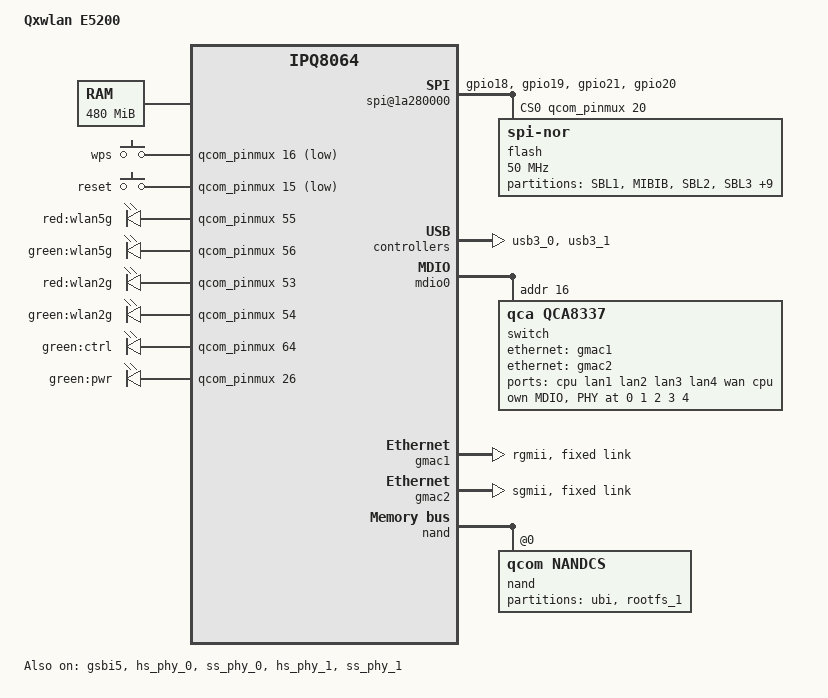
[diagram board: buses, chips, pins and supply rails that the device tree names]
// SPDX-License-Identifier: GPL-2.0-or-later OR MIT

#include "qcom-ipq8065-smb208.dtsi"
#include <dt-bindings/input/input.h>

/ {
	model = "Qxwlan E5200";
	compatible = "qxwlan,e5200", "qcom,ipq8065", "qcom,ipq8064";

	memory@42000000 {
		reg = <0x42000000 0x1e000000>;
		device_type = "memory";
	};

	aliases {
		led-boot = &pwr_green;
		led-failsafe = &pwr_green;
		led-running = &pwr_green;
		led-upgrade = &pwr_green;
	};

	chosen {
		bootargs = " console=ttyMSM0,115200n8 rootwait";
	};

	keys {
		compatible = "gpio-keys";
		pinctrl-0 = <&button_pins>;
		pinctrl-names = "default";

		wps {
			label = "wps";
			gpios = <&qcom_pinmux 16 GPIO_ACTIVE_LOW>;
			linux,code = <KEY_WPS_BUTTON>;
			debounce-interval = <60>;
			wakeup-source;
		};

		reset {
			label = "reset";
			gpios = <&qcom_pinmux 15 GPIO_ACTIVE_LOW>;
			linux,code = <KEY_RESTART>;
		};
	};

	leds {
		compatible = "gpio-leds";
		pinctrl-0 = <&led_pins>;
		pinctrl-names = "default";

		wlan5g_red {
			label = "red:wlan5g";
			gpios = <&qcom_pinmux 55 GPIO_ACTIVE_HIGH>;
		};

		wlan5g_green {
			label = "green:wlan5g";
			gpios = <&qcom_pinmux 56 GPIO_ACTIVE_HIGH>;
		};

		wlan2g_red {
			label = "red:wlan2g";
			gpios = <&qcom_pinmux 53 GPIO_ACTIVE_HIGH>;
		};

		2g_green {
			label = "green:wlan2g";
			gpios = <&qcom_pinmux 54 GPIO_ACTIVE_HIGH>;
		};

		ctrl_green {
			label = "green:ctrl";
			gpios = <&qcom_pinmux 64 GPIO_ACTIVE_HIGH>;
		};

		pwr_green: pwr_green {
			label = "green:pwr";
			gpios = <&qcom_pinmux 26 GPIO_ACTIVE_HIGH>;
		};
	};
};

&qcom_pinmux {
	spi_pins: spi_pins {
		mux {
			pins = "gpio18", "gpio19", "gpio21";
			function = "gsbi5";
			drive-strength = <10>;
			bias-pull-down;
		};

		clk {
			pins = "gpio21";
			function = "gsbi5";
			drive-strength = <12>;
			bias-pull-down;
		};

		cs {
			pins = "gpio20";
			function = "gpio";
			drive-strength = <10>;
			bias-pull-up;
		};
	};

	led_pins: led_pins {
		mux {
			pins = "gpio65", "gpio64",
				   "gpio53", "gpio54",
				   "gpio55", "gpio56",
				   "gpio26", "gpio64";
			function = "gpio";
			drive-strength = <2>;
			bias-pull-up;
		};
	};

	button_pins: button_pins {
		mux {
			pins = "gpio15", "gpio16";
			function = "gpio";
			drive-strength = <2>;
			bias-pull-up;
		};
	};

};

&gsbi5 {
	qcom,mode = <GSBI_PROT_SPI>;
	status = "okay";

	spi@1a280000 {
		status = "okay";
		spi-max-frequency = <50000000>;

		pinctrl-0 = <&spi_pins>;
		pinctrl-names = "default";

		cs-gpios = <&qcom_pinmux 20 GPIO_ACTIVE_HIGH>;

		flash@0 {
			compatible = "jedec,spi-nor";
			#address-cells = <1>;
			#size-cells = <1>;
			spi-max-frequency = <50000000>;
			reg = <0>;

			partitions {
				compatible = "fixed-partitions";
				#address-cells = <1>;
				#size-cells = <1>;

				SBL1@0 {
					label = "SBL1";
					reg = <0x0 0x10000>;
					read-only;
				};

				MIBIB@10000 {
					label = "MIBIB";
					reg = <0x10000 0x20000>;
					read-only;
				};

				SBL2@30000 {
					label = "SBL2";
					reg = <0x30000 0x30000>;
					read-only;
				};

				SBL3@60000 {
					label = "SBL3";
					reg = <0x60000 0x30000>;
					read-only;
				};

				DDRCONFIG@90000 {
					label = "DDRCONFIG";
					reg = <0x90000 0x10000>;
					read-only;
				};

				SSD@a0000 {
					label = "SSD";
					reg = <0xa0000 0x10000>;
					read-only;
				};

				TZ@b0000 {
					label = "TZ";
					reg = <0xb0000 0x30000>;
					read-only;
				};

				RPM@e0000 {
					label = "RPM";
					reg = <0xe0000 0x20000>;
					read-only;
				};

				APPSBL@100000 {
					label = "APPSBL";
					reg = <0x100000 0x80000>;
					read-only;
				};

				APPSBLENV@180000 {
					label = "APPSBLENV";
					reg = <0x180000 0x10000>;
					read-only;
				};

				ART@190000 {
					label = "ART";
					reg = <0x190000 0x40000>;
					read-only;

					compatible = "nvmem-cells";
					#address-cells = <1>;
					#size-cells = <1>;

					macaddr_ART_0: macaddr@0 {
						reg = <0x0 0x6>;
					};

					macaddr_ART_6: macaddr@6 {
						reg = <0x6 0x6>;
					};
				};

				BOOTCONFIG@1d0000 {
					label = "BOOTCONFIG";
					reg = <0x1d0000 0x10000>;
					read-only;
				};

				APPSBL_1@1e0000 {
					label = "APPSBL_1";
					reg = <0x1e0000 0x70000>;
					read-only;
				};
			};
		};
	};
};

&hs_phy_0 {
	status = "okay";
};

&ss_phy_0 {
	status = "okay";
};

&usb3_0 {
	status = "okay";
};

&hs_phy_1 {
	status = "okay";
};

&ss_phy_1 {
	status = "okay";
};

&usb3_1 {
	status = "okay";
};

&dwc3_0 {
	#address-cells = <1>;
	#size-cells = <0>;

	hub_port0: port@1 {
		reg = <1>;
		#trigger-source-cells = <0>;
	};
};

&dwc3_1 {
	#address-cells = <1>;
	#size-cells = <0>;

	hub_port1: port@1 {
		reg = <1>;
		#trigger-source-cells = <0>;
	};
};

&pcie0 {
	status = "disabled";
};

&pcie1 {
	status = "disabled";
};

&mdio0 {
	status = "okay";
	pinctrl-0 = <&mdio0_pins>;
	pinctrl-names = "default";

	switch@10 {
		compatible = "qca,qca8337";
		#address-cells = <1>;
		#size-cells = <0>;
		reg = <0x10>;

		ports {
			#address-cells = <1>;
			#size-cells = <0>;

			port@0 {
				reg = <0>;
				label = "cpu";
				ethernet = <&gmac1>;
				phy-mode = "rgmii";
				tx-internal-delay-ps = <1000>;
				rx-internal-delay-ps = <1000>;

				fixed-link {
					speed = <1000>;
					full-duplex;
				};
			};

			port@1 {
				reg = <1>;
				label = "lan1";
				phy-mode = "internal";
				phy-handle = <&phy_port1>;
			};

			port@2 {
				reg = <2>;
				label = "lan2";
				phy-mode = "internal";
				phy-handle = <&phy_port2>;
			};

			port@3 {
				reg = <3>;
				label = "lan3";
				phy-mode = "internal";
				phy-handle = <&phy_port3>;
			};

			port@4 {
				reg = <4>;
				label = "lan4";
				phy-mode = "internal";
				phy-handle = <&phy_port4>;
			};

			port@5 {
				reg = <5>;
				label = "wan";
				phy-mode = "internal";
				phy-handle = <&phy_port5>;
			};

			port@6 {
				reg = <6>;
				label = "cpu";
				ethernet = <&gmac2>;
				phy-mode = "sgmii";
				qca,sgmii-enable-pll;

				fixed-link {
					speed = <1000>;
					full-duplex;
				};
			};
		};

		mdio {
			#address-cells = <1>;
			#size-cells = <0>;

			phy_port1: phy@0 {
				reg = <0>;
			};

			phy_port2: phy@1 {
				reg = <1>;
			};

			phy_port3: phy@2 {
				reg = <2>;
			};

			phy_port4: phy@3 {
				reg = <3>;
			};

			phy_port5: phy@4 {
				reg = <4>;
			};
		};
	};
};

&gmac1 {
	status = "okay";

	phy-mode = "rgmii";
	qcom,id = <1>;

	pinctrl-0 = <&rgmii2_pins>;
	pinctrl-names = "default";

	nvmem-cells = <&macaddr_ART_6>;
	nvmem-cell-names = "mac-address";

	fixed-link {
		speed = <1000>;
		full-duplex;
	};
};

&gmac2 {
	status = "okay";

	phy-mode = "sgmii";
	qcom,id = <2>;

	nvmem-cells = <&macaddr_ART_0>;
	nvmem-cell-names = "mac-address";

	fixed-link {
		speed = <1000>;
		full-duplex;
	};
};

&nand {
	status = "okay";
	pinctrl-0 = <&nand_pins>;
	pinctrl-names = "default";

	nand@0 {
		reg = <0>;
		compatible = "qcom,nandcs";

		nand-ecc-strength = <4>;
		nand-bus-width = <8>;
		nand-ecc-step-size = <512>;

		partitions {
			compatible = "fixed-partitions";
			#address-cells = <1>;
			#size-cells = <1>;

			ubi@0 {
				label = "ubi";
				reg = <0x0000000 0x4000000>;
			};

			rootfs_1@4000000 {
				label = "rootfs_1";
				reg = <0x4000000 0x4000000>;
			};
		};
	};
};

&adm_dma {
	status = "okay";
};
